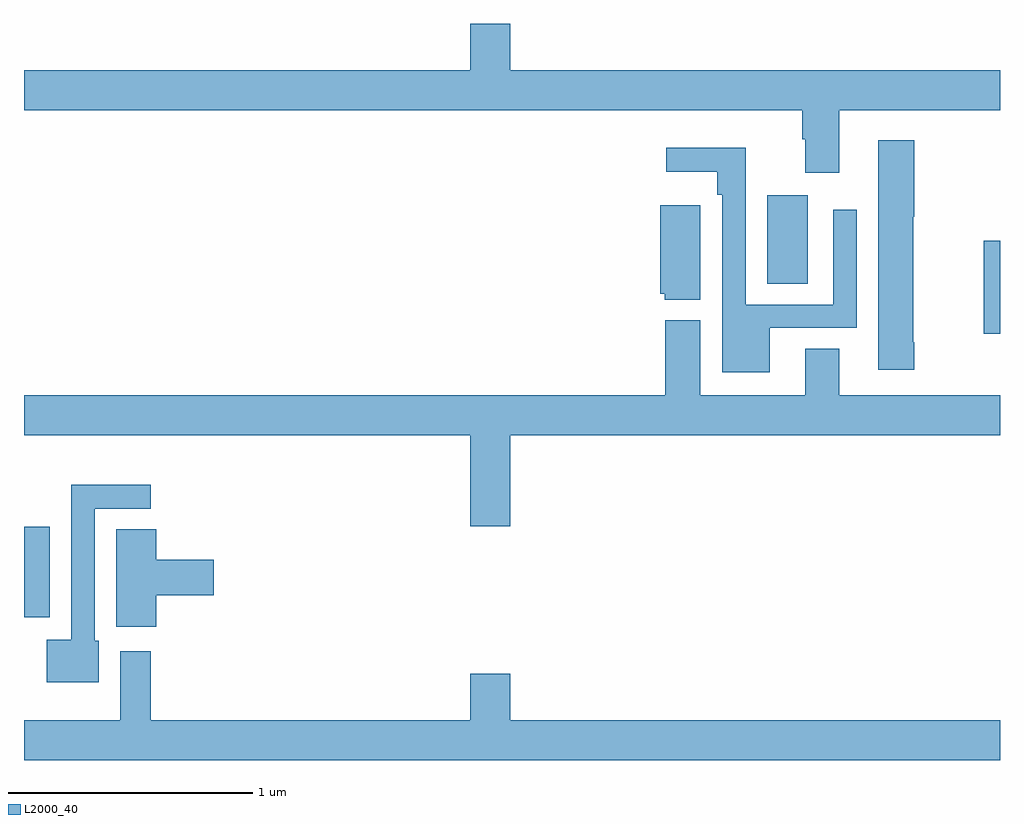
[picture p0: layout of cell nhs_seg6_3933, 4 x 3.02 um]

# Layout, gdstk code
import gdstk
lib = gdstk.Library(unit=1e-6, precision=1e-09)
def R(c, l, rs):  # rectangles x0, y0, x1, y1
    for r in rs: c.add(gdstk.rectangle(r[:2], r[2:], *l))
def P(c, l, *ps):  # polygons
    for p in ps: c.add(gdstk.Polygon(p, *l))
L2000_40 = (2000, 40)

nhs_seg6_3933 = lib.new_cell('nhs_seg6_3933')
R(nhs_seg6_3933, L2000_40, [(346.933,943.755,347,944.136), (346.046,943.96,346.213,944.323)])
P(nhs_seg6_3933, L2000_40, [(346.342,944.672),(347,944.672),(347,944.836),(344.992,944.836),(344.992,945.025),(344.828,945.025),(344.828,944.836),(343,944.836),(343,944.672),(346.19,944.672),(346.19,944.552),(346.202,944.552),(346.202,944.415),(346.342,944.415)],
  [(346.649,943.72),(346.644,943.72),(346.644,944.235),(346.649,944.235),(346.649,944.548),(346.502,944.548),(346.502,943.608),(346.649,943.608)],
  [(346.057,943.779),(346.413,943.779),(346.413,944.263),(346.317,944.263),(346.317,943.875),(345.957,943.875),(345.957,944.518),(345.633,944.518),(345.633,944.42),(345.841,944.42),(345.841,944.324),(345.861,944.324),(345.861,943.598),(346.057,943.598)],
  [(345.772,944.281),(345.608,944.281),(345.608,943.92),(345.627,943.92),(345.627,943.895),(345.772,943.895)],
  [(344.992,943.34),(347,943.34),(347,943.504),(346.342,943.504),(346.342,943.694),(346.202,943.694),(346.202,943.504),(345.772,943.504),(345.772,943.81),(345.629,943.81),(345.629,943.504),(343,943.504),(343,943.34),(344.828,943.34),(344.828,942.966),(344.992,942.966)],
  [(343.306,942.498),(343.29,942.498),(343.29,943.038),(343.519,943.038),(343.519,943.136),(343.194,943.136),(343.194,942.502),(343.094,942.502),(343.094,942.326),(343.306,942.326)],
  [(343.105,942.964),(343.001,942.964),(343.001,942.951),(343,942.951),(343,942.594),(343.105,942.594)],
  [(343.541,942.683),(343.777,942.683),(343.777,942.83),(343.541,942.83),(343.541,942.953),(343.379,942.953),(343.379,942.555),(343.541,942.555)],
  [(347,942.172),(344.992,942.172),(344.992,942.361),(344.828,942.361),(344.828,942.172),(343.52,942.172),(343.52,942.454),(343.394,942.454),(343.394,942.172),(343,942.172),(343,942.008),(347,942.008)])

lib.write_gds('nhs_seg6_3933.gds')
